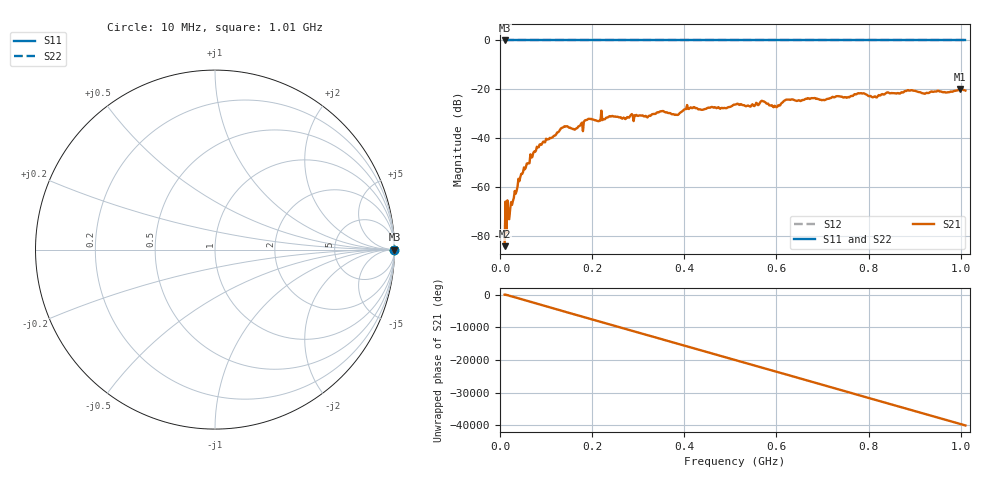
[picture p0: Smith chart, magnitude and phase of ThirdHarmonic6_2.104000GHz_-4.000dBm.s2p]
! 8/17/2025 1:10:00 AM
! C:\ANRITSUVNA\TEMP\TEMP.S2P
! CHANNEL.1
! TR.MEASUREMENT
! RAW.DATA
! RF.CORRECTION.OFF
! AVERAGING.OFF
! IF.BANDWIDTH: 5KHZ
! SWEEPTYPE:  FREQ.SWEEP(Linear)
! Reference Plane Port Info
! PORT:  PORT1  PORT2
! DISTANCE:  0  m  0  m
! TIME:  0  s  0  s
! PHASE.OFFSET:  0  deg.  0  deg.
! LOSS:  0  dB  0  dB
! REF.LOSS:  0  dB  0  dB
! REF.FREQ:  0  Hz  0  Hz
! Power Info
! POWER:  -20  dBm  -20  dBm
! EFF.POWER:  -20  dBm  -20  dBm
! SOURCE.ATTEN:  0  dB  0  dB
! TEST.ATTEN:  0  dB  0  dB
# GHZ S RI R 50.0
! FREQ.GHZ  S11RE  S11IM  S21RE  S21IM  S12RE  S12IM  S22RE  S22IM
!; PortSelection: Port_12
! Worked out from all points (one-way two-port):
!   501 points, 10 MHz to 1.01 GHz, reference 50 ohm
!   highest |S21| = -19.82 dB at 998 MHz (marker M1); lowest = -84.0 dB at 10 MHz (marker M2)
!   lowest |S11| = 0.0 dB at 10 MHz (marker M3)
!   |S11| at or under -10 dB: nowhere
!   |S22| runs from 0.0 to 0.0 dB; largest |S21 - S12| = 1.1
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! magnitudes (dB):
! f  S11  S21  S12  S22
! 10 MHz  0.0  -84.0  0.0  0.0
! 16 MHz  0.0  -65.3  0.0  0.0
! 22 MHz  0.0  -69.0  0.0  0.0
! 44 MHz  0.0  -55.9  0.0  0.0
! 76 MHz  0.0  -45.5  0.0  0.0
! 136 MHz  0.0  -35.6  0.0  0.0
! 178 MHz  0.0  -33.6  0.0  0.0
! 194 MHz  0.0  -32.0  0.0  0.0
! 322 MHz  0.0  -31.0  0.0  0.0
! 344 MHz  0.0  -29.4  0.0  0.0
! 384 MHz  0.0  -30.4  0.0  0.0
! 410 MHz  0.0  -28.0  0.0  0.0
! 510 MHz  0.0  -26.2  0.0  0.0
! 540 MHz  0.0  -26.7  0.0  0.0
! 570 MHz  0.0  -24.8  0.0  0.0
! 598 MHz  0.0  -26.9  0.0  0.0
! 622 MHz  0.0  -24.2  0.0  0.0
! 678 MHz  0.0  -23.6  0.0  0.0
! 814 MHz  0.0  -22.8  0.0  0.0
! 844 MHz  0.0  -21.4  0.0  0.0
! 998 MHz  0.0  -19.8  0.0  0.0
! 1.01 GHz  0.0  -20.5  0.0  0.0
